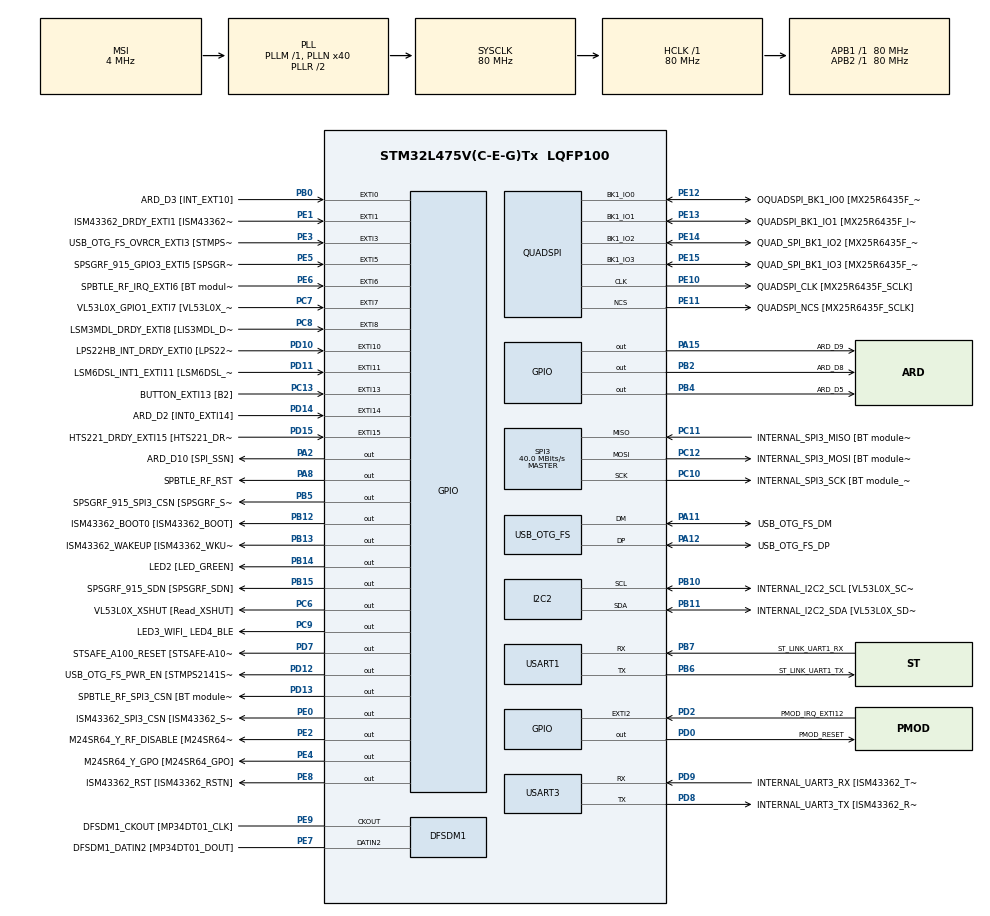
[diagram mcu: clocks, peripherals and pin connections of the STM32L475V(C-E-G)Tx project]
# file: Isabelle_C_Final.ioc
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Mcu.Family=STM32L4
Mcu.Name=STM32L475V(C-E-G)Tx
Mcu.Package=LQFP100
NVIC.EXTI15_10_IRQn=true\:0\:0\:false\:false\:true\:true\:true
NVIC.EXTI9_5_IRQn=true\:0\:0\:false\:false\:true\:true\:true
NVIC.PriorityGroup=NVIC_PRIORITYGROUP_4
NVIC.RTC_Alarm_IRQn=true\:0\:0\:false\:false\:true\:true\:true
NVIC.TIM2_IRQn=true\:0\:0\:false\:false\:true\:true\:true
NVIC.TIM3_IRQn=true\:0\:0\:false\:false\:true\:true\:true
NVIC.TIM6_DAC_IRQn=true\:0\:0\:false\:false\:true\:true\:true
PA0.GPIO_Label=ARD_D1 [UART4_TX]
PA0.Signal=UART4_TX
PA1.GPIO_Label=ARD_D0 [UART4_RX]
PA1.Signal=UART4_RX
PA10.GPIO_Label=USB_OTG_FS_ID
PA10.Signal=USB_OTG_FS_ID
PA11.GPIO_Label=USB_OTG_FS_DM
PA11.Mode=Device_Only
PA11.Signal=USB_OTG_FS_DM
PA12.GPIO_Label=USB_OTG_FS_DP
PA12.Mode=Device_Only
PA12.Signal=USB_OTG_FS_DP
PA13\ (JTMS-SWDIO).GPIO_Label=SYS_JTMS_SWDIO
PA13\ (JTMS-SWDIO).Mode=Serial_Wire
PA13\ (JTMS-SWDIO).Signal=SYS_JTMS-SWDIO
PA14\ (JTCK-SWCLK).GPIO_Label=SYS_JTCK_SWCLK
PA14\ (JTCK-SWCLK).Mode=Serial_Wire
PA14\ (JTCK-SWCLK).Signal=SYS_JTCK-SWCLK
PA15\ (JTDI).GPIO_Label=ARD_D9
PA15\ (JTDI).Signal=GPIO_Output
PA2.GPIO_Label=ARD_D10 [SPI_SSN]
PA2.Signal=GPIO_Output
PA3.GPIO_Label=ARD_D4
PA3.Signal=S_TIM2_CH4
PA4.GPIO_Label=ARD_D7
PA4.Signal=ADCx_IN9
PA5.GPIO_Label=ARD_D13 [SPI1_SCK]
PA5.Signal=SPI1_SCK
PA6.GPIO_Label=ARD_D12 [SPI1_MISO]
PA6.Signal=SPI1_MISO
PA7.GPIO_Label=ARD_D11 [SPI1_MOSI]
PA7.Signal=SPI1_MOSI
PA8.GPIO_Label=SPBTLE_RF_RST
PA8.Signal=GPIO_Output
PA9.GPIO_Label=USB_OTG_FS_VBUS [STMPS2141STR_OUT]
PA9.Signal=USB_OTG_FS_VBUS
PB0.GPIO_Label=ARD_D3 [INT_EXT10]
PB0.Signal=GPXTI0
PB1.GPIO_Label=ARD_D6 [ADC1_IN6]
PB1.Signal=ADCx_IN16
PB10.GPIO_Label=INTERNAL_I2C2_SCL [VL53L0X_SCL]
PB10.Mode=I2C
PB10.Signal=I2C2_SCL
PB11.GPIO_Label=INTERNAL_I2C2_SDA [VL53L0X_SDA]
PB11.Mode=I2C
PB11.Signal=I2C2_SDA
PB12.GPIO_Label=ISM43362_BOOT0 [ISM43362_BOOT]
PB12.Signal=GPIO_Output
PB13.GPIO_Label=ISM43362_WAKEUP [ISM43362_WKUP]
PB13.Signal=GPIO_Output
PB14.GPIO_Label=LED2 [LED_GREEN]
PB14.Signal=GPIO_Output
PB15.GPIO_Label=SPSGRF_915_SDN [SPSGRF_SDN]
PB15.Signal=GPIO_Output
PB2.GPIO_Label=ARD_D8
PB2.Signal=GPIO_Output
PB3\ (JTDO-TRACESWO).GPIO_Label=SYS_JTD0_SWO
PB3\ (JTDO-TRACESWO).Signal=SYS_JTDO-SWO
PB4\ (NJTRST).GPIO_Label=ARD_D5
PB4\ (NJTRST).Signal=GPIO_Output
PB5.GPIO_Label=SPSGRF_915_SPI3_CSN [SPSGRF_SPI_CS]
PB5.PinState=GPIO_PIN_SET
PB5.Signal=GPIO_Output
PB6.GPIO_Label=ST_LINK_UART1_TX
PB6.Mode=Asynchronous
PB6.Signal=USART1_TX
PB7.GPIO_Label=ST_LINK_UART1_RX
PB7.Mode=Asynchronous
PB7.Signal=USART1_RX
PB8.GPIO_Label=ARD_D15 [I2C1_SCL]
PB8.Signal=I2C1_SCL
PB9.GPIO_Label=ARD_D14 [I2C1_SDA]
PB9.Signal=I2C1_SDA
PC0.GPIO_Label=ARD_A5 [ADC]
PC0.Signal=ADCx_IN1
PC1.GPIO_Label=ARD_A4 [ADC]
PC1.Signal=ADCx_IN2
PC10.GPIO_Label=INTERNAL_SPI3_SCK [BT module_SPI_SCLK]
PC10.Mode=Full_Duplex_Master
PC10.Signal=SPI3_SCK
PC11.GPIO_Label=INTERNAL_SPI3_MISO [BT module_SPI_MISO]
PC11.Mode=Full_Duplex_Master
PC11.Signal=SPI3_MISO
PC12.GPIO_Label=INTERNAL_SPI3_MOSI [BT module_SPI_MOSI]
PC12.Mode=Full_Duplex_Master
PC12.Signal=SPI3_MOSI
PC13.GPIO_Label=BUTTON_EXTI13 [B2]
PC13.GPIO_ModeDefaultEXTI=GPIO_MODE_IT_FALLING
PC13.Signal=GPXTI13
PC14-OSC32_IN\ (PC14).Mode=LSE-External-Oscillator
PC14-OSC32_IN\ (PC14).Signal=RCC_OSC32_IN
PC15-OSC32_OUT\ (PC15).Mode=LSE-External-Oscillator
PC15-OSC32_OUT\ (PC15).Signal=RCC_OSC32_OUT
PC2.GPIO_Label=ARD_A3 [ADC]
PC2.Signal=ADCx_IN3
PC3.GPIO_Label=ARD_A2 [ADC]
PC3.Signal=ADCx_IN4
PC4.GPIO_Label=ARD_A1 [ADC]
PC4.Signal=ADCx_IN13
PC5.GPIO_Label=ARD_A0 [ADC]
PC5.Signal=ADCx_IN14
PC6.GPIO_Label=VL53L0X_XSHUT [Read_XSHUT]
PC6.Signal=GPIO_Output
PC7.GPIO_Label=VL53L0X_GPIO1_EXTI7 [VL53L0X_GPIO1]
PC7.Signal=GPXTI7
PC8.GPIO_Label=LSM3MDL_DRDY_EXTI8 [LIS3MDL_DRDY]
PC8.Signal=GPXTI8
PC9.GPIO_Label=LED3_WIFI_ LED4_BLE
PC9.Signal=GPIO_Output
PD0.GPIO_Label=PMOD_RESET
PD0.Signal=GPIO_Output
PD1.GPIO_Label=PMOD_SPI2_SCK
PD1.Signal=SPI2_SCK
PD10.GPIO_Label=LPS22HB_INT_DRDY_EXTI0 [LPS22HB_INT_DRDY] 
PD10.Signal=GPXTI10
PD11.GPIO_Label=LSM6DSL_INT1_EXTI11 [LSM6DSL_INT1]
PD11.Signal=GPXTI11
PD12.GPIO_Label=USB_OTG_FS_PWR_EN [STMPS2141STR_EN]
PD12.Signal=GPIO_Output
PD13.GPIO_Label=SPBTLE_RF_SPI3_CSN [BT module_SPI_CS]
PD13.PinState=GPIO_PIN_SET
PD13.Signal=GPIO_Output
PD14.GPIO_Label=ARD_D2 [INT0_EXTI14]
PD14.Signal=GPXTI14
PD15.GPIO_Label=HTS221_DRDY_EXTI15 [HTS221_DRDY]
PD15.Signal=GPXTI15
PD2.GPIO_Label=PMOD_IRQ_EXTI12
PD2.Signal=GPXTI2
PD3.GPIO_Label=PMOD_UART2_CTS
PD3.Signal=USART2_CTS
PD4.GPIO_Label=PMOD_UART2_RTS
PD4.Signal=USART2_RTS
PD5.GPIO_Label=PMOD_UART2_TX
PD5.Signal=USART2_TX
PD6.GPIO_Label=PMOD_UART2_RX
PD6.Signal=USART2_RX
PD7.GPIO_Label=STSAFE_A100_RESET [STSAFE-A100_RESET]
PD7.Signal=GPIO_Output
PD8.GPIO_Label=INTERNAL_UART3_TX [ISM43362_RX]
PD8.Mode=Asynchronous
PD8.Signal=USART3_TX
PD9.GPIO_Label=INTERNAL_UART3_RX [ISM43362_TX]
PD9.Mode=Asynchronous
PD9.Signal=USART3_RX
PE0.GPIO_Label=ISM43362_SPI3_CSN [ISM43362_SSN]
PE0.PinState=GPIO_PIN_SET
PE0.Signal=GPIO_Output
PE1.GPIO_Label=ISM43362_DRDY_EXTI1 [ISM43362_DATARDY]
PE1.Signal=GPXTI1
PE10.GPIO_Label=QUADSPI_CLK [MX25R6435F_SCLK]
PE10.Mode=Single Bank
PE10.Signal=QUADSPI_CLK
PE11.GPIO_Label=QUADSPI_NCS [MX25R6435F_SCLK]
PE11.Mode=Single Bank
PE11.Signal=QUADSPI_NCS
PE12.GPIO_Label=OQUADSPI_BK1_IO0 [MX25R6435F_IO0]
PE12.Mode=Single Bank
PE12.Signal=QUADSPI_BK1_IO0
PE13.GPIO_Label=QUADSPI_BK1_IO1 [MX25R6435F_IO1]
PE13.Mode=Single Bank
PE13.Signal=QUADSPI_BK1_IO1
PE14.GPIO_Label=QUAD_SPI_BK1_IO2 [MX25R6435F_IO2]
PE14.Mode=Single Bank
PE14.Signal=QUADSPI_BK1_IO2
PE15.GPIO_Label=QUAD_SPI_BK1_IO3 [MX25R6435F_IO3]
PE15.Mode=Single Bank
PE15.Signal=QUADSPI_BK1_IO3
PE2.GPIO_Label=M24SR64_Y_RF_DISABLE [M24SR64_RFDIS]
PE2.Signal=GPIO_Output
PE3.GPIO_Label=USB_OTG_FS_OVRCR_EXTI3 [STMPS2141STR_FAULT]
PE3.Signal=GPXTI3
PE4.GPIO_Label=M24SR64_Y_GPO [M24SR64_GPO]
PE4.Signal=GPIO_Output
PE5.GPIO_Label=SPSGRF_915_GPIO3_EXTI5 [SPSGRF_GPIO_3]
PE5.Signal=GPXTI5
PE6.GPIO_Label=SPBTLE_RF_IRQ_EXTI6 [BT module_SPI_IRQ]
PE6.Signal=GPXTI6
PE7.GPIO_Label=DFSDM1_DATIN2 [MP34DT01_DOUT]
PE7.Signal=S_DATAIN2DFSDM1
PE8.GPIO_Label=ISM43362_RST [ISM43362_RSTN]
PE8.Signal=GPIO_Output
PE9.GPIO_Label=DFSDM1_CKOUT [MP34DT01_CLK]
PE9.Signal=S_CKOUTDFSDM1
ProjectManager.HeapSize=0x200
ProjectManager.StackSize=0x400
ProjectManager.TargetToolchain=STM32CubeIDE
RCC.ADCFreq_Value=48000000
RCC.AHBFreq_Value=80000000
RCC.APB1Freq_Value=80000000
RCC.APB1TimFreq_Value=80000000
RCC.APB2Freq_Value=80000000
RCC.APB2TimFreq_Value=80000000
RCC.CortexFreq_Value=80000000
RCC.HCLKFreq_Value=80000000
RCC.HSE_VALUE=8000000
RCC.HSI_VALUE=16000000
RCC.MSI_VALUE=4000000
RCC.PLLN=40
RCC.PLLSAI1N=24
RCC.SYSCLKFreq_VALUE=80000000
RCC.SYSCLKSource=RCC_SYSCLKSOURCE_PLLCLK
RCC.USBFreq_Value=48000000
RCC.VCOOutputFreq_Value=160000000
RTC.Alarm-Alarm\ A=RTC_ALARM_A
SH.ADCx_IN1.0=ADC1_IN1
SH.ADCx_IN13.0=ADC1_IN13
SH.ADCx_IN14.0=ADC1_IN14
SH.ADCx_IN16.0=ADC1_IN16
SH.ADCx_IN2.0=ADC1_IN2
SH.ADCx_IN3.0=ADC1_IN3
SH.ADCx_IN4.0=ADC1_IN4
SH.ADCx_IN9.0=ADC1_IN9
SH.S_CKOUTDFSDM1.0=DFSDM1_CKOUT,CKOUT
SH.S_CKOUTDFSDM1.1=DFSDM1_CKOUT,PDM_SPI_Input_from_ch12_and_Internal_Clock
SH.S_DATAIN2DFSDM1.0=DFSDM1_DATIN2,PDM_SPI_Input_from_ch12_and_Internal_Clock
SH.S_TIM2_CH4.0=TIM2_CH4
SPI3.CalculateBaudRate=40.0 MBits/s
SPI3.Direction=SPI_DIRECTION_2LINES
SPI3.Mode=SPI_MODE_MASTER
SPI3.VirtualType=VM_MASTER
USART1.VirtualMode-Asynchronous=VM_ASYNC
USART3.VirtualMode-Asynchronous=VM_ASYNC
USB_OTG_FS.VirtualMode=Device_Only
VP_IWDG_VS_IWDG.Mode=IWDG_Activate
VP_RTC_VS_RTC_Activate.Mode=RTC_Enabled
VP_RTC_VS_RTC_Alarm_A_Intern.Mode=Alarm A
VP_RTC_VS_RTC_Calendar.Mode=RTC_Calendar
VP_TIM2_VS_ClockSourceINT.Mode=Internal
VP_TIM3_VS_ClockSourceINT.Mode=Internal
VP_TIM6_VS_ClockSourceINT.Mode=Enable_Timer
VP_WWDG_VS_WWDG.Mode=WWDG_Activate
board=B-L475E-IOT01A1

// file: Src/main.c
/* USER CODE BEGIN Header */
/**
  ******************************************************************************
  * @file           : main.c
  * @brief          : Main program body
  ******************************************************************************
  * @attention
  *
  * <h2><center>&copy; Copyright (c) 2020 STMicroelectronics.
  * All rights reserved.</center></h2>
  *
  * This software component is licensed by ST under BSD 3-Clause license,
  * the "License"; You may not use this file except in compliance with the
  * License. You may obtain a copy of the License at:
  *                        opensource.org/licenses/BSD-3-Clause
  *
  ******************************************************************************
  */
/* USER CODE END Header */

#include "main.h"

/* USER CODE BEGIN Includes */
#include <stdio.h>
#include <string.h>
#include <stdlib.h>
#include <ctype.h>
/* USER CODE END Includes */

/* USER CODE BEGIN PD */
#define GRN_LED_Pin GPIO_PIN_14
#define GRN_LED_GPIO_Port GPIOB
#define BLUE_LED_Pin GPIO_PIN_9
#define BLUE_LED_GPIO_Port GPIOC
//Use this GPIO with output at CN1pin1 to trace events related to RTC & timer functions
#define TIMER_TRACE_Pin ARD_D8_Pin
#define TIMER_TRACE_Port ARD_D8_GPIO_Port

/* USER CODE END PD */

DFSDM_Channel_HandleTypeDef hdfsdm1_channel1;

I2C_HandleTypeDef hi2c2;

IWDG_HandleTypeDef hiwdg;

QSPI_HandleTypeDef hqspi;

RTC_HandleTypeDef hrtc;

SPI_HandleTypeDef hspi3;

TIM_HandleTypeDef htim2;
TIM_HandleTypeDef htim3;
TIM_HandleTypeDef htim6;

UART_HandleTypeDef huart1;
UART_HandleTypeDef huart3;

PCD_HandleTypeDef hpcd_USB_OTG_FS;

WWDG_HandleTypeDef hwwdg;

/* USER CODE BEGIN PV */

int mySwInterruptFlag = 0;
int mySysTickEventFlag = 0;
int myTim3EventFlag = 0;
int myRtcAlarmFlag = 0;

/* USER CODE END PV */

void SystemClock_Config(void);
static void MX_GPIO_Init(void);
static void MX_DFSDM1_Init(void);
static void MX_I2C2_Init(void);
static void MX_IWDG_Init(void);
static void MX_QUADSPI_Init(void);
static void MX_RTC_Init(void);
static void MX_SPI3_Init(void);
static void MX_TIM2_Init(void);
static void MX_TIM3_Init(void);
static void MX_TIM6_Init(void);
static void MX_USART1_UART_Init(void);
static void MX_USART3_UART_Init(void);
static void MX_USB_OTG_FS_PCD_Init(void);
static void MX_WWDG_Init(void);

/* USER CODE BEGIN 0 */

// generic USART handler
void USART1_IRQHandler(void)
{
  HAL_UART_IRQHandler(&huart1);
}

// logMsg - prints messages to the UART
void logMsg(UART_HandleTypeDef *huart, char _out[])
{
    //Use STM32L4xx_HAL_Driver for UART TX
    uint32_t numTxChar = strlen(_out);
    HAL_UART_Transmit_IT(huart, (uint8_t *)_out, numTxChar);
    //need to stall and wait for all characters to be transmitted
    while(!__HAL_UART_GET_FLAG(huart, UART_FLAG_TC));
}

// logGetMsg method
uint8_t logGetMsg(UART_HandleTypeDef *huart)
{
    uint8_t rxChar;
    HAL_UART_Receive_IT(&huart1, &rxChar, sizeof(uint8_t));
    return (rxChar);
}

// myDelay1 method - IWDG safe
void myDelay1(uint32_t val)
{
    //Confirmed all bits in TIM2 are initialized to zero.
    //Only bits required as set are handled in the code below

    //TIM2 (CR) Control Register Setup
    //set CR[4] DIR = 1 for downcounter
    TIM2->CR1 |= 1<<4;
    //set CR[0] CEN = 1 for Counter enable
    TIM2->CR1 |= 1<<0;
    TIM2->PSC = 1;      //PSC_CLK = 80MHz/(PSC+1) = 40MHz

    TIM2->ARR = 40000;
    TIM2->CCR1 = 1;
    while (val != 0)
    {
        //wait for SR[0] UIF = 1 Update Interrupt Pending
        while(!(TIM2-> SR & 1)) {}

        //placing the IWDG refresh here will force a WDT event if the timer is not configured correctly
        //pet the IWDG timer
        HAL_IWDG_Refresh(&hiwdg);

        val --;
        //clear SR[0] UIF = 0 No update occured
        TIM2->SR &= ~1;
    }
}

// myDelay2 method - IWDG safe
void myDelay2(uint32_t val)
{
    //SysTick_LOAD = (SysTick_Interrupt_Period * SysTick_Counter_Clock_Frequency) - 1
    SysTick->LOAD = (1E-3 * SystemCoreClock) - 1;

    while (val != 0)
    {
        //Added mySysTick_IRQHandler() in SysTick_Handler()
        //mySysTick_IRQHandler() sets swSysTickEventFlag each time SysTick_Handler() is called

        //wait until swSysTickEventFlag changes
        while(!mySysTickEventFlag) {}

        //reset swSysTickEventFlag
        mySysTickEventFlag = 0;

        //pet the IWDG timer
        HAL_IWDG_Refresh(&hiwdg);

        val --;
    }
}

void FMC_SW_IRQHandler(void)
{
    mySwInterruptFlag = 1;
}

// called by SysTick_Handler()
void mySysTick_IRQHandler(void)
{
    mySysTickEventFlag = 1;
}

void HAL_TIM_PeriodElapsedCallback(TIM_HandleTypeDef *htim)
{
    if(htim == &htim3)
    {
        myTim3EventFlag = 1;
    }

}

void HAL_RTC_AlarmAEventCallback(RTC_HandleTypeDef *hrtc)
{
    myRtcAlarmFlag = 1;
}

/* USER CODE END 0 */

int main(void)
{

  /* MCU Configuration--------------------------------------------------------*/

  /* Reset of all peripherals, Initializes the Flash interface and the Systick. */
  HAL_Init();

  /* USER CODE BEGIN Init */

  //Enable IRQ for UART1
  HAL_NVIC_EnableIRQ(USART1_IRQn);

  /* USER CODE END Init */

  /* Configure the system clock */
  SystemClock_Config();

  /* Initialize all configured peripherals */
  MX_GPIO_Init();
  MX_DFSDM1_Init();
  MX_I2C2_Init();
  MX_IWDG_Init();
  MX_QUADSPI_Init();
  MX_RTC_Init();
  MX_SPI3_Init();
  MX_TIM2_Init();
  MX_TIM3_Init();
  MX_TIM6_Init();
  MX_USART1_UART_Init();
  MX_USART3_UART_Init();
  MX_USB_OTG_FS_PCD_Init();
//  MX_WWDG_Init();
  /* USER CODE BEGIN 2 */
  HAL_NVIC_SetPriority(FMC_IRQn, 15, 0);
  HAL_NVIC_EnableIRQ(FMC_IRQn);

  //create a null terminated string of a single character
  char tempChar[1];
  //create a null terminated string
  char tempStr[80];
  //timer 3 1 second counter
  int tim3Cntr=0;
  //print start up banner to the terminal
  logMsg(&huart1, "\n\n\n\r\n");
  logMsg(&huart1, "Welcome to <Embedded Controller Programming for Real-Time Systems> \r\n");
  logMsg(&huart1, "~~~~~~~~~~~~~~~~~~~~~~~~~~~~~~~~~~~~~~~~~~~~~~~~~~~~~~~~~~~~~~~~~~ \r\n");
  logMsg(&huart1, "~             Assignment: Final Project                          ~ \r\n");
  logMsg(&huart1, "~          Course Number: ECE-40097                              ~ \r\n");
  logMsg(&huart1, "~             Section ID: 145032                                 ~ \r\n");
  logMsg(&huart1, "~           Student Name: Chris Isabelle                         ~ \r\n");
  logMsg(&huart1, "~                    SID: U01136665                              ~ \r\n");
  logMsg(&huart1, "~~~~~~~~~~~~~~~~~~~~~~~~~~~~~~~~~~~~~~~~~~~~~~~~~~~~~~~~~~~~~~~~~~ \r\n");

  /* USER CODE END 2 */

  /* Infinite loop */
  while (1)
  {

    /* USER CODE BEGIN 3 */

      //reprint the menu each time a character is processed
      logMsg(&huart1, "\n\r\n");
      logMsg(&huart1, "\r\n                   Main Menu \r\n");
      logMsg(&huart1, "~~~~~~~~~~~~~~~~~~~~~~~~~~~~~~~~~~~~~~~~~~~~~~~ \r\n");
      logMsg(&huart1, "Enter g - Toggle the Green LED after 1 one second delay\r\n");
      logMsg(&huart1, "Enter b - Toggle the Blue LED after 1 one second delay\r\n");
      logMsg(&huart1, "Enter s - Generate a SW interrupt \r\n");
      logMsg(&huart1, "Enter t - Start timer3  \r\n");
      logMsg(&huart1, "Enter w - Enable a 1 second delay to trigger the WDT \r\n");

      //stall the outerloop until a char is input to the terminal - IWDG safe
      //process tim3, rtc & swInterrupt flags
      while(__HAL_UART_GET_FLAG(&huart1, UART_FLAG_RXNE)==0)
      {
          //pet the IWDG timer
          HAL_IWDG_Refresh(&hiwdg);

          //test to see if the TIM3 interrupt flag has been triggered
          if(myTim3EventFlag)
          {
              //clear the flag
              myTim3EventFlag=0;

              //throw away for first event
              //enabling the interrupt causes an event that is not a timed event
              //see test log for timing analysis.
              if(tim3Cntr==0)
              {
                  logMsg(&huart1, "\r\nTotal timer3 enabled\r\n");
                  tim3Cntr++;
                  continue;
              }

              sprintf(tempStr, "Total timer3 events counted = %d\r\n", tim3Cntr);
              //increment counter
              tim3Cntr++;
              logMsg(&huart1, tempStr);
              if(tim3Cntr>10)
              {
                  //Stop timer 3
                  HAL_TIM_Base_Stop_IT(&htim3);
                  //reset tim3Cntr
                  tim3Cntr = 0;
                  logMsg(&huart1, "\r\nTimer 3 Test Complete\r\n");
              }
          }

          //test to see if the SW interrupt flag has been triggered
          if(mySwInterruptFlag)
          {
              //print message
              logMsg(&huart1, "\r\n>>> SW Interrupt Detected <<<\r\n\r\n");
              //clear the flag
              mySwInterruptFlag=0;
          }

          //test to see if the RTC interrupt flag has been triggered
          if(myRtcAlarmFlag)
          {
              //print message
              logMsg(&huart1, "\r\n>>> RTC alarm A detected <<<\r\n\r\n");
              //clear the flag
              myRtcAlarmFlag=0;
          }
      }

      //get the character that was input to the terminal
      tempChar[0] = logGetMsg(&huart1);
      logMsg(&huart1, "\n\r\nreceived character = ");
      logMsg(&huart1, tempChar);
      logMsg(&huart1, " \r\n");

      //process character
      switch(tempChar[0])
      {
            case('g'):  //Toggle Green LED
                        myDelay1(1000);
                        HAL_GPIO_TogglePin(GRN_LED_GPIO_Port, GRN_LED_Pin);
                        logMsg(&huart1, "Toggle Green LED \r\n");
                        break;
            case('b'):  //Toggle blue LED
                        myDelay2(1000);
                        HAL_GPIO_TogglePin(BLUE_LED_GPIO_Port, BLUE_LED_Pin);
                        logMsg(&huart1, "Toggle Blue LED \r\n");
                        break;
            case('s'):  //Generate a SW interrupt
                        NVIC->STIR = FMC_IRQn;
                        break;
            case('t'):  //Start timer 3
                        //Prescaler drop the 80MHz clk to 40KHz
                        //80MHz/(1999+1) = 40kHz
                        htim3.Init.Prescaler = 1999;
                        htim3.Init.CounterMode = TIM_COUNTERMODE_DOWN;
                        //use the 40HKz clk to countdown 40K cycles for 1 second underflow
                        htim3.Init.Period = 40000;
                        HAL_TIM_Base_Init(&htim3);
                        logMsg(&huart1, "\r\nStarting Timer 3 Test\r\n");
                        HAL_TIM_Base_Start_IT(&htim3);
                        break;
            case('w'):  //Enable 1 second delay to trigger the IWDG
                        logMsg(&huart1, "\r\nStarting IWDG Test\r\n");
                        HAL_Delay(1000);
                        break;
            default:    logMsg(&huart1, "\n\r\nunknown character received \r\n");
      }
  }
  /* USER CODE END 3 */
}

void SystemClock_Config(void)
{
  RCC_OscInitTypeDef RCC_OscInitStruct = {0};
  RCC_ClkInitTypeDef RCC_ClkInitStruct = {0};
  RCC_PeriphCLKInitTypeDef PeriphClkInit = {0};

  /** Configure LSE Drive Capability
  */
  HAL_PWR_EnableBkUpAccess();
  __HAL_RCC_LSEDRIVE_CONFIG(RCC_LSEDRIVE_LOW);
  /** Initializes the CPU, AHB and APB busses clocks
  */
  RCC_OscInitStruct.OscillatorType = RCC_OSCILLATORTYPE_LSI|RCC_OSCILLATORTYPE_LSE
                              |RCC_OSCILLATORTYPE_MSI;
  RCC_OscInitStruct.LSEState = RCC_LSE_ON;
  RCC_OscInitStruct.LSIState = RCC_LSI_ON;
  RCC_OscInitStruct.MSIState = RCC_MSI_ON;
  RCC_OscInitStruct.MSICalibrationValue = 0;
  RCC_OscInitStruct.MSIClockRange = RCC_MSIRANGE_6;
  RCC_OscInitStruct.PLL.PLLState = RCC_PLL_ON;
  RCC_OscInitStruct.PLL.PLLSource = RCC_PLLSOURCE_MSI;
  RCC_OscInitStruct.PLL.PLLM = 1;
  RCC_OscInitStruct.PLL.PLLN = 40;
  RCC_OscInitStruct.PLL.PLLP = RCC_PLLP_DIV7;
  RCC_OscInitStruct.PLL.PLLQ = RCC_PLLQ_DIV2;
  RCC_OscInitStruct.PLL.PLLR = RCC_PLLR_DIV2;
  if (HAL_RCC_OscConfig(&RCC_OscInitStruct) != HAL_OK)
  {
    Error_Handler();
  }
  /** Initializes the CPU, AHB and APB busses clocks
  */
  RCC_ClkInitStruct.ClockType = RCC_CLOCKTYPE_HCLK|RCC_CLOCKTYPE_SYSCLK
                              |RCC_CLOCKTYPE_PCLK1|RCC_CLOCKTYPE_PCLK2;
  RCC_ClkInitStruct.SYSCLKSource = RCC_SYSCLKSOURCE_PLLCLK;
  RCC_ClkInitStruct.AHBCLKDivider = RCC_SYSCLK_DIV1;
  RCC_ClkInitStruct.APB1CLKDivider = RCC_HCLK_DIV1;
  RCC_ClkInitStruct.APB2CLKDivider = RCC_HCLK_DIV1;

  if (HAL_RCC_ClockConfig(&RCC_ClkInitStruct, FLASH_LATENCY_4) != HAL_OK)
  {
    Error_Handler();
  }
  PeriphClkInit.PeriphClockSelection = RCC_PERIPHCLK_RTC|RCC_PERIPHCLK_USART1
                              |RCC_PERIPHCLK_USART3|RCC_PERIPHCLK_I2C2
                              |RCC_PERIPHCLK_DFSDM1|RCC_PERIPHCLK_USB;
  PeriphClkInit.Usart1ClockSelection = RCC_USART1CLKSOURCE_PCLK2;
  PeriphClkInit.Usart3ClockSelection = RCC_USART3CLKSOURCE_PCLK1;
  PeriphClkInit.I2c2ClockSelection = RCC_I2C2CLKSOURCE_PCLK1;
  PeriphClkInit.Dfsdm1ClockSelection = RCC_DFSDM1CLKSOURCE_PCLK;
  PeriphClkInit.RTCClockSelection = RCC_RTCCLKSOURCE_LSI;
  PeriphClkInit.UsbClockSelection = RCC_USBCLKSOURCE_PLLSAI1;
  PeriphClkInit.PLLSAI1.PLLSAI1Source = RCC_PLLSOURCE_MSI;
  PeriphClkInit.PLLSAI1.PLLSAI1M = 1;
  PeriphClkInit.PLLSAI1.PLLSAI1N = 24;
  PeriphClkInit.PLLSAI1.PLLSAI1P = RCC_PLLP_DIV7;
  PeriphClkInit.PLLSAI1.PLLSAI1Q = RCC_PLLQ_DIV2;
  PeriphClkInit.PLLSAI1.PLLSAI1R = RCC_PLLR_DIV2;
  PeriphClkInit.PLLSAI1.PLLSAI1ClockOut = RCC_PLLSAI1_48M2CLK;
  if (HAL_RCCEx_PeriphCLKConfig(&PeriphClkInit) != HAL_OK)
  {
    Error_Handler();
  }
  /** Configure the main internal regulator output voltage
  */
  if (HAL_PWREx_ControlVoltageScaling(PWR_REGULATOR_VOLTAGE_SCALE1) != HAL_OK)
  {
    Error_Handler();
  }
  /** Enable MSI Auto calibration
  */
  HAL_RCCEx_EnableMSIPLLMode();
}

static void MX_DFSDM1_Init(void)
{

  hdfsdm1_channel1.Instance = DFSDM1_Channel1;
  hdfsdm1_channel1.Init.OutputClock.Activation = ENABLE;
  hdfsdm1_channel1.Init.OutputClock.Selection = DFSDM_CHANNEL_OUTPUT_CLOCK_SYSTEM;
  hdfsdm1_channel1.Init.OutputClock.Divider = 2;
  hdfsdm1_channel1.Init.Input.Multiplexer = DFSDM_CHANNEL_EXTERNAL_INPUTS;
  hdfsdm1_channel1.Init.Input.DataPacking = DFSDM_CHANNEL_STANDARD_MODE;
  hdfsdm1_channel1.Init.Input.Pins = DFSDM_CHANNEL_FOLLOWING_CHANNEL_PINS;
  hdfsdm1_channel1.Init.SerialInterface.Type = DFSDM_CHANNEL_SPI_RISING;
  hdfsdm1_channel1.Init.SerialInterface.SpiClock = DFSDM_CHANNEL_SPI_CLOCK_INTERNAL;
  hdfsdm1_channel1.Init.Awd.FilterOrder = DFSDM_CHANNEL_FASTSINC_ORDER;
  hdfsdm1_channel1.Init.Awd.Oversampling = 1;
  hdfsdm1_channel1.Init.Offset = 0;
  hdfsdm1_channel1.Init.RightBitShift = 0x00;
  if (HAL_DFSDM_ChannelInit(&hdfsdm1_channel1) != HAL_OK)
  {
    Error_Handler();
  }

}

static void MX_I2C2_Init(void)
{

  hi2c2.Instance = I2C2;
  hi2c2.Init.Timing = 0x10909CEC;
  hi2c2.Init.OwnAddress1 = 0;
  hi2c2.Init.AddressingMode = I2C_ADDRESSINGMODE_7BIT;
  hi2c2.Init.DualAddressMode = I2C_DUALADDRESS_DISABLE;
  hi2c2.Init.OwnAddress2 = 0;
  hi2c2.Init.OwnAddress2Masks = I2C_OA2_NOMASK;
  hi2c2.Init.GeneralCallMode = I2C_GENERALCALL_DISABLE;
  hi2c2.Init.NoStretchMode = I2C_NOSTRETCH_DISABLE;
  if (HAL_I2C_Init(&hi2c2) != HAL_OK)
  {
    Error_Handler();
  }
  /** Configure Analogue filter
  */
  if (HAL_I2CEx_ConfigAnalogFilter(&hi2c2, I2C_ANALOGFILTER_ENABLE) != HAL_OK)
  {
    Error_Handler();
  }
  /** Configure Digital filter
  */
  if (HAL_I2CEx_ConfigDigitalFilter(&hi2c2, 0) != HAL_OK)
  {
    Error_Handler();
  }

}

static void MX_IWDG_Init(void)
{

  hiwdg.Instance = IWDG;
  hiwdg.Init.Prescaler = IWDG_PRESCALER_4;
  hiwdg.Init.Window = 4095;
  hiwdg.Init.Reload = 4095;
  if (HAL_IWDG_Init(&hiwdg) != HAL_OK)
  {
    Error_Handler();
  }

}

static void MX_QUADSPI_Init(void)
{

  /* QUADSPI parameter configuration*/
  hqspi.Instance = QUADSPI;
  hqspi.Init.ClockPrescaler = 255;
  hqspi.Init.FifoThreshold = 1;
  hqspi.Init.SampleShifting = QSPI_SAMPLE_SHIFTING_NONE;
  hqspi.Init.FlashSize = 1;
  hqspi.Init.ChipSelectHighTime = QSPI_CS_HIGH_TIME_1_CYCLE;
  hqspi.Init.ClockMode = QSPI_CLOCK_MODE_0;
  if (HAL_QSPI_Init(&hqspi) != HAL_OK)
  {
    Error_Handler();
  }

}

static void MX_RTC_Init(void)
{

  RTC_TimeTypeDef sTime = {0};
  RTC_DateTypeDef sDate = {0};
  RTC_AlarmTypeDef sAlarm = {0};

  /** Initialize RTC Only
  */
  hrtc.Instance = RTC;
  hrtc.Init.HourFormat = RTC_HOURFORMAT_24;
  hrtc.Init.AsynchPrediv = 127;
  hrtc.Init.SynchPrediv = 255;
  hrtc.Init.OutPut = RTC_OUTPUT_DISABLE;
  hrtc.Init.OutPutRemap = RTC_OUTPUT_REMAP_NONE;
  hrtc.Init.OutPutPolarity = RTC_OUTPUT_POLARITY_HIGH;
  hrtc.Init.OutPutType = RTC_OUTPUT_TYPE_OPENDRAIN;
  if (HAL_RTC_Init(&hrtc) != HAL_OK)
  {
    Error_Handler();
  }

  /** Initialize RTC and set the Time and Date
  */
  sTime.Hours = 0x0;
  sTime.Minutes = 0x0;
  sTime.Seconds = 0x0;
  sTime.DayLightSaving = RTC_DAYLIGHTSAVING_NONE;
  sTime.StoreOperation = RTC_STOREOPERATION_RESET;
  if (HAL_RTC_SetTime(&hrtc, &sTime, RTC_FORMAT_BCD) != HAL_OK)
  {
    Error_Handler();
  }
  sDate.WeekDay = RTC_WEEKDAY_MONDAY;
  sDate.Month = RTC_MONTH_JANUARY;
  sDate.Date = 0x1;
  sDate.Year = 0x0;

  if (HAL_RTC_SetDate(&hrtc, &sDate, RTC_FORMAT_BCD) != HAL_OK)
  {
    Error_Handler();
  }
  /** Enable the Alarm A
  */
  sAlarm.AlarmTime.Hours = 0x0;
  sAlarm.AlarmTime.Minutes = 0x1;
  sAlarm.AlarmTime.Seconds = 0x0;
  sAlarm.AlarmTime.SubSeconds = 0x0;
  sAlarm.AlarmTime.DayLightSaving = RTC_DAYLIGHTSAVING_NONE;
  sAlarm.AlarmTime.StoreOperation = RTC_STOREOPERATION_RESET;
  sAlarm.AlarmMask = RTC_ALARMMASK_NONE;
  sAlarm.AlarmSubSecondMask = RTC_ALARMSUBSECONDMASK_ALL;
  sAlarm.AlarmDateWeekDaySel = RTC_ALARMDATEWEEKDAYSEL_DATE;
  sAlarm.AlarmDateWeekDay = 0x1;
  sAlarm.Alarm = RTC_ALARM_A;
  if (HAL_RTC_SetAlarm_IT(&hrtc, &sAlarm, RTC_FORMAT_BCD) != HAL_OK)
  {
    Error_Handler();
  }

}

static void MX_SPI3_Init(void)
{

  /* SPI3 parameter configuration*/
  hspi3.Instance = SPI3;
  hspi3.Init.Mode = SPI_MODE_MASTER;
  hspi3.Init.Direction = SPI_DIRECTION_2LINES;
  hspi3.Init.DataSize = SPI_DATASIZE_4BIT;
  hspi3.Init.CLKPolarity = SPI_POLARITY_LOW;
  hspi3.Init.CLKPhase = SPI_PHASE_1EDGE;
  hspi3.Init.NSS = SPI_NSS_SOFT;
  hspi3.Init.BaudRatePrescaler = SPI_BAUDRATEPRESCALER_2;
  hspi3.Init.FirstBit = SPI_FIRSTBIT_MSB;
  hspi3.Init.TIMode = SPI_TIMODE_DISABLE;
  hspi3.Init.CRCCalculation = SPI_CRCCALCULATION_DISABLE;
  hspi3.Init.CRCPolynomial = 7;
  hspi3.Init.CRCLength = SPI_CRC_LENGTH_DATASIZE;
  hspi3.Init.NSSPMode = SPI_NSS_PULSE_ENABLE;
  if (HAL_SPI_Init(&hspi3) != HAL_OK)
  {
    Error_Handler();
  }

}

static void MX_TIM2_Init(void)
{

  TIM_ClockConfigTypeDef sClockSourceConfig = {0};
  TIM_MasterConfigTypeDef sMasterConfig = {0};

  htim2.Instance = TIM2;
  htim2.Init.Prescaler = 0;
  htim2.Init.CounterMode = TIM_COUNTERMODE_UP;
  htim2.Init.Period = 0;
  htim2.Init.ClockDivision = TIM_CLOCKDIVISION_DIV1;
  htim2.Init.AutoReloadPreload = TIM_AUTORELOAD_PRELOAD_DISABLE;
  if (HAL_TIM_Base_Init(&htim2) != HAL_OK)
  {
    Error_Handler();
  }
  sClockSourceConfig.ClockSource = TIM_CLOCKSOURCE_INTERNAL;
  if (HAL_TIM_ConfigClockSource(&htim2, &sClockSourceConfig) != HAL_OK)
  {
    Error_Handler();
  }
  sMasterConfig.MasterOutputTrigger = TIM_TRGO_RESET;
  sMasterConfig.MasterSlaveMode = TIM_MASTERSLAVEMODE_DISABLE;
  if (HAL_TIMEx_MasterConfigSynchronization(&htim2, &sMasterConfig) != HAL_OK)
  {
    Error_Handler();
  }

}

static void MX_TIM3_Init(void)
{

  TIM_ClockConfigTypeDef sClockSourceConfig = {0};
  TIM_MasterConfigTypeDef sMasterConfig = {0};

  htim3.Instance = TIM3;
  htim3.Init.Prescaler = 0;
  htim3.Init.CounterMode = TIM_COUNTERMODE_UP;
  htim3.Init.Period = 0;
  htim3.Init.ClockDivision = TIM_CLOCKDIVISION_DIV1;
  htim3.Init.AutoReloadPreload = TIM_AUTORELOAD_PRELOAD_DISABLE;
  if (HAL_TIM_Base_Init(&htim3) != HAL_OK)
  {
    Error_Handler();
  }
  sClockSourceConfig.ClockSource = TIM_CLOCKSOURCE_INTERNAL;    //Selected clock is LSI @ 32KHz
  if (HAL_TIM_ConfigClockSource(&htim3, &sClockSourceConfig) != HAL_OK)
  {
    Error_Handler();
  }
  sMasterConfig.MasterOutputTrigger = TIM_TRGO_RESET;
  sMasterConfig.MasterSlaveMode = TIM_MASTERSLAVEMODE_DISABLE;
  if (HAL_TIMEx_MasterConfigSynchronization(&htim3, &sMasterConfig) != HAL_OK)
  {
    Error_Handler();
  }

}

static void MX_TIM6_Init(void)
{

  TIM_MasterConfigTypeDef sMasterConfig = {0};

  htim6.Instance = TIM6;
  htim6.Init.Prescaler = 0;
  htim6.Init.CounterMode = TIM_COUNTERMODE_UP;
  htim6.Init.Period = 0;
  htim6.Init.AutoReloadPreload = TIM_AUTORELOAD_PRELOAD_DISABLE;
  if (HAL_TIM_Base_Init(&htim6) != HAL_OK)
  {
    Error_Handler();
  }
  sMasterConfig.MasterOutputTrigger = TIM_TRGO_RESET;
  sMasterConfig.MasterSlaveMode = TIM_MASTERSLAVEMODE_DISABLE;
  if (HAL_TIMEx_MasterConfigSynchronization(&htim6, &sMasterConfig) != HAL_OK)
  {
    Error_Handler();
  }

}

static void MX_USART1_UART_Init(void)
{

  huart1.Instance = USART1;
  huart1.Init.BaudRate = 115200;
  huart1.Init.WordLength = UART_WORDLENGTH_8B;
  huart1.Init.StopBits = UART_STOPBITS_1;
  huart1.Init.Parity = UART_PARITY_NONE;
  huart1.Init.Mode = UART_MODE_TX_RX;
  huart1.Init.HwFlowCtl = UART_HWCONTROL_NONE;
  huart1.Init.OverSampling = UART_OVERSAMPLING_16;
  huart1.Init.OneBitSampling = UART_ONE_BIT_SAMPLE_DISABLE;
  huart1.AdvancedInit.AdvFeatureInit = UART_ADVFEATURE_NO_INIT;
  if (HAL_UART_Init(&huart1) != HAL_OK)
  {
    Error_Handler();
  }

}

static void MX_USART3_UART_Init(void)
{

  huart3.Instance = USART3;
  huart3.Init.BaudRate = 115200;
  huart3.Init.WordLength = UART_WORDLENGTH_8B;
  huart3.Init.StopBits = UART_STOPBITS_1;
  huart3.Init.Parity = UART_PARITY_NONE;
  huart3.Init.Mode = UART_MODE_TX_RX;
  huart3.Init.HwFlowCtl = UART_HWCONTROL_NONE;
  huart3.Init.OverSampling = UART_OVERSAMPLING_16;
  huart3.Init.OneBitSampling = UART_ONE_BIT_SAMPLE_DISABLE;
  huart3.AdvancedInit.AdvFeatureInit = UART_ADVFEATURE_NO_INIT;
  if (HAL_UART_Init(&huart3) != HAL_OK)
  {
    Error_Handler();
  }

}

static void MX_USB_OTG_FS_PCD_Init(void)
{

  hpcd_USB_OTG_FS.Instance = USB_OTG_FS;
  hpcd_USB_OTG_FS.Init.dev_endpoints = 6;
  hpcd_USB_OTG_FS.Init.speed = PCD_SPEED_FULL;
  hpcd_USB_OTG_FS.Init.phy_itface = PCD_PHY_EMBEDDED;
  hpcd_USB_OTG_FS.Init.Sof_enable = DISABLE;
  hpcd_USB_OTG_FS.Init.low_power_enable = DISABLE;
  hpcd_USB_OTG_FS.Init.lpm_enable = DISABLE;
  hpcd_USB_OTG_FS.Init.battery_charging_enable = DISABLE;
  hpcd_USB_OTG_FS.Init.use_dedicated_ep1 = DISABLE;
  hpcd_USB_OTG_FS.Init.vbus_sensing_enable = DISABLE;
  if (HAL_PCD_Init(&hpcd_USB_OTG_FS) != HAL_OK)
  {
    Error_Handler();
  }

}

static void MX_WWDG_Init(void)
{

  hwwdg.Instance = WWDG;
  hwwdg.Init.Prescaler = WWDG_PRESCALER_1;
  hwwdg.Init.Window = 64;
  hwwdg.Init.Counter = 64;
  hwwdg.Init.EWIMode = WWDG_EWI_DISABLE;
  if (HAL_WWDG_Init(&hwwdg) != HAL_OK)
  {
    Error_Handler();
  }

}

static void MX_GPIO_Init(void)
{
  GPIO_InitTypeDef GPIO_InitStruct = {0};

  /* GPIO Ports Clock Enable */
  __HAL_RCC_GPIOE_CLK_ENABLE();
  __HAL_RCC_GPIOC_CLK_ENABLE();
  __HAL_RCC_GPIOA_CLK_ENABLE();
  __HAL_RCC_GPIOB_CLK_ENABLE();
  __HAL_RCC_GPIOD_CLK_ENABLE();

  /*Configure GPIO pin Output Level */
  HAL_GPIO_WritePin(GPIOE, M24SR64_Y_RF_DISABLE_Pin|M24SR64_Y_GPO_Pin|ISM43362_RST_Pin, GPIO_PIN_RESET);

  /*Configure GPIO pin Output Level */
  HAL_GPIO_WritePin(GPIOA, ARD_D10_Pin|SPBTLE_RF_RST_Pin|ARD_D9_Pin, GPIO_PIN_RESET);

  /*Configure GPIO pin Output Level */
  HAL_GPIO_WritePin(GPIOB, ARD_D8_Pin|ISM43362_BOOT0_Pin|ISM43362_WAKEUP_Pin|LED2_Pin
                          |SPSGRF_915_SDN_Pin|ARD_D5_Pin, GPIO_PIN_RESET);

  /*Configure GPIO pin Output Level */
  HAL_GPIO_WritePin(GPIOD, USB_OTG_FS_PWR_EN_Pin|PMOD_RESET_Pin|STSAFE_A100_RESET_Pin, GPIO_PIN_RESET);

  /*Configure GPIO pin Output Level */
  HAL_GPIO_WritePin(SPBTLE_RF_SPI3_CSN_GPIO_Port, SPBTLE_RF_SPI3_CSN_Pin, GPIO_PIN_SET);

  /*Configure GPIO pin Output Level */
  HAL_GPIO_WritePin(GPIOC, VL53L0X_XSHUT_Pin|LED3_WIFI__LED4_BLE_Pin, GPIO_PIN_RESET);

  /*Configure GPIO pin Output Level */
  HAL_GPIO_WritePin(SPSGRF_915_SPI3_CSN_GPIO_Port, SPSGRF_915_SPI3_CSN_Pin, GPIO_PIN_SET);

  /*Configure GPIO pin Output Level */
  HAL_GPIO_WritePin(ISM43362_SPI3_CSN_GPIO_Port, ISM43362_SPI3_CSN_Pin, GPIO_PIN_SET);

  /*Configure GPIO pins : M24SR64_Y_RF_DISABLE_Pin M24SR64_Y_GPO_Pin ISM43362_RST_Pin ISM43362_SPI3_CSN_Pin */
  GPIO_InitStruct.Pin = M24SR64_Y_RF_DISABLE_Pin|M24SR64_Y_GPO_Pin|ISM43362_RST_Pin|ISM43362_SPI3_CSN_Pin;
  GPIO_InitStruct.Mode = GPIO_MODE_OUTPUT_PP;
  GPIO_InitStruct.Pull = GPIO_NOPULL;
  GPIO_InitStruct.Speed = GPIO_SPEED_FREQ_LOW;
  HAL_GPIO_Init(GPIOE, &GPIO_InitStruct);

  /*Configure GPIO pins : USB_OTG_FS_OVRCR_EXTI3_Pin SPSGRF_915_GPIO3_EXTI5_Pin SPBTLE_RF_IRQ_EXTI6_Pin ISM43362_DRDY_EXTI1_Pin */
  GPIO_InitStruct.Pin = USB_OTG_FS_OVRCR_EXTI3_Pin|SPSGRF_915_GPIO3_EXTI5_Pin|SPBTLE_RF_IRQ_EXTI6_Pin|ISM43362_DRDY_EXTI1_Pin;
  GPIO_InitStruct.Mode = GPIO_MODE_IT_RISING;
  GPIO_InitStruct.Pull = GPIO_NOPULL;
  HAL_GPIO_Init(GPIOE, &GPIO_InitStruct);

  /*Configure GPIO pin : BUTTON_EXTI13_Pin */
  GPIO_InitStruct.Pin = BUTTON_EXTI13_Pin;
  GPIO_InitStruct.Mode = GPIO_MODE_IT_FALLING;
  GPIO_InitStruct.Pull = GPIO_NOPULL;
  HAL_GPIO_Init(BUTTON_EXTI13_GPIO_Port, &GPIO_InitStruct);

  /*Configure GPIO pins : ARD_A5_Pin ARD_A4_Pin ARD_A3_Pin ARD_A2_Pin
                           ARD_A1_Pin ARD_A0_Pin */
  GPIO_InitStruct.Pin = ARD_A5_Pin|ARD_A4_Pin|ARD_A3_Pin|ARD_A2_Pin
                          |ARD_A1_Pin|ARD_A0_Pin;
  GPIO_InitStruct.Mode = GPIO_MODE_ANALOG_ADC_CONTROL;
  GPIO_InitStruct.Pull = GPIO_NOPULL;
  HAL_GPIO_Init(GPIOC, &GPIO_InitStruct);

  /*Configure GPIO pins : ARD_D1_Pin ARD_D0_Pin */
  GPIO_InitStruct.Pin = ARD_D1_Pin|ARD_D0_Pin;
  GPIO_InitStruct.Mode = GPIO_MODE_AF_PP;
  GPIO_InitStruct.Pull = GPIO_NOPULL;
  GPIO_InitStruct.Speed = GPIO_SPEED_FREQ_VERY_HIGH;
  GPIO_InitStruct.Alternate = GPIO_AF8_UART4;
  HAL_GPIO_Init(GPIOA, &GPIO_InitStruct);

  /*Configure GPIO pins : ARD_D10_Pin SPBTLE_RF_RST_Pin ARD_D9_Pin */
  GPIO_InitStruct.Pin = ARD_D10_Pin|SPBTLE_RF_RST_Pin|ARD_D9_Pin;
  GPIO_InitStruct.Mode = GPIO_MODE_OUTPUT_PP;
  GPIO_InitStruct.Pull = GPIO_NOPULL;
  GPIO_InitStruct.Speed = GPIO_SPEED_FREQ_LOW;
  HAL_GPIO_Init(GPIOA, &GPIO_InitStruct);

  /*Configure GPIO pin : ARD_D7_Pin */
  GPIO_InitStruct.Pin = ARD_D7_Pin;
  GPIO_InitStruct.Mode = GPIO_MODE_ANALOG_ADC_CONTROL;
  GPIO_InitStruct.Pull = GPIO_NOPULL;
  HAL_GPIO_Init(ARD_D7_GPIO_Port, &GPIO_InitStruct);

  /*Configure GPIO pins : ARD_D13_Pin ARD_D12_Pin ARD_D11_Pin */
  GPIO_InitStruct.Pin = ARD_D13_Pin|ARD_D12_Pin|ARD_D11_Pin;
  GPIO_InitStruct.Mode = GPIO_MODE_AF_PP;
  GPIO_InitStruct.Pull = GPIO_NOPULL;
  GPIO_InitStruct.Speed = GPIO_SPEED_FREQ_VERY_HIGH;
  GPIO_InitStruct.Alternate = GPIO_AF5_SPI1;
  HAL_GPIO_Init(GPIOA, &GPIO_InitStruct);

  /*Configure GPIO pin : ARD_D3_Pin */
  GPIO_InitStruct.Pin = ARD_D3_Pin;
  GPIO_InitStruct.Mode = GPIO_MODE_IT_RISING;
  GPIO_InitStruct.Pull = GPIO_NOPULL;
  HAL_GPIO_Init(ARD_D3_GPIO_Port, &GPIO_InitStruct);

  /*Configure GPIO pin : ARD_D6_Pin */
  GPIO_InitStruct.Pin = ARD_D6_Pin;
  GPIO_InitStruct.Mode = GPIO_MODE_ANALOG_ADC_CONTROL;
  GPIO_InitStruct.Pull = GPIO_NOPULL;
  HAL_GPIO_Init(ARD_D6_GPIO_Port, &GPIO_InitStruct);

  /*Configure GPIO pins : ARD_D8_Pin ISM43362_BOOT0_Pin ISM43362_WAKEUP_Pin LED2_Pin
                           SPSGRF_915_SDN_Pin ARD_D5_Pin SPSGRF_915_SPI3_CSN_Pin */
  GPIO_InitStruct.Pin = ARD_D8_Pin|ISM43362_BOOT0_Pin|ISM43362_WAKEUP_Pin|LED2_Pin
                          |SPSGRF_915_SDN_Pin|ARD_D5_Pin|SPSGRF_915_SPI3_CSN_Pin;
  GPIO_InitStruct.Mode = GPIO_MODE_OUTPUT_PP;
  GPIO_InitStruct.Pull = GPIO_NOPULL;
  GPIO_InitStruct.Speed = GPIO_SPEED_FREQ_LOW;
  HAL_GPIO_Init(GPIOB, &GPIO_InitStruct);

  /*Configure GPIO pins : LPS22HB_INT_DRDY_EXTI0_Pin LSM6DSL_INT1_EXTI11_Pin ARD_D2_Pin HTS221_DRDY_EXTI15_Pin
                           PMOD_IRQ_EXTI12_Pin */
  GPIO_InitStruct.Pin = LPS22HB_INT_DRDY_EXTI0_Pin|LSM6DSL_INT1_EXTI11_Pin|ARD_D2_Pin|HTS221_DRDY_EXTI15_Pin
                          |PMOD_IRQ_EXTI12_Pin;
  GPIO_InitStruct.Mode = GPIO_MODE_IT_RISING;
  GPIO_InitStruct.Pull = GPIO_NOPULL;
  HAL_GPIO_Init(GPIOD, &GPIO_InitStruct);

  /*Configure GPIO pins : USB_OTG_FS_PWR_EN_Pin SPBTLE_RF_SPI3_CSN_Pin PMOD_RESET_Pin STSAFE_A100_RESET_Pin */
  GPIO_InitStruct.Pin = USB_OTG_FS_PWR_EN_Pin|SPBTLE_RF_SPI3_CSN_Pin|PMOD_RESET_Pin|STSAFE_A100_RESET_Pin;
  GPIO_InitStruct.Mode = GPIO_MODE_OUTPUT_PP;
  GPIO_InitStruct.Pull = GPIO_NOPULL;
  GPIO_InitStruct.Speed = GPIO_SPEED_FREQ_LOW;
  HAL_GPIO_Init(GPIOD, &GPIO_InitStruct);

  /*Configure GPIO pins : VL53L0X_XSHUT_Pin LED3_WIFI__LED4_BLE_Pin */
  GPIO_InitStruct.Pin = VL53L0X_XSHUT_Pin|LED3_WIFI__LED4_BLE_Pin;
  GPIO_InitStruct.Mode = GPIO_MODE_OUTPUT_PP;
  GPIO_InitStruct.Pull = GPIO_NOPULL;
  GPIO_InitStruct.Speed = GPIO_SPEED_FREQ_LOW;
  HAL_GPIO_Init(GPIOC, &GPIO_InitStruct);

  /*Configure GPIO pins : VL53L0X_GPIO1_EXTI7_Pin LSM3MDL_DRDY_EXTI8_Pin */
  GPIO_InitStruct.Pin = VL53L0X_GPIO1_EXTI7_Pin|LSM3MDL_DRDY_EXTI8_Pin;
  GPIO_InitStruct.Mode = GPIO_MODE_IT_RISING;
  GPIO_InitStruct.Pull = GPIO_NOPULL;
  HAL_GPIO_Init(GPIOC, &GPIO_InitStruct);

  /*Configure GPIO pin : PMOD_SPI2_SCK_Pin */
  GPIO_InitStruct.Pin = PMOD_SPI2_SCK_Pin;
  GPIO_InitStruct.Mode = GPIO_MODE_AF_PP;
  GPIO_InitStruct.Pull = GPIO_NOPULL;
  GPIO_InitStruct.Speed = GPIO_SPEED_FREQ_VERY_HIGH;
  GPIO_InitStruct.Alternate = GPIO_AF5_SPI2;
  HAL_GPIO_Init(PMOD_SPI2_SCK_GPIO_Port, &GPIO_InitStruct);

  /*Configure GPIO pins : PMOD_UART2_CTS_Pin PMOD_UART2_RTS_Pin PMOD_UART2_TX_Pin PMOD_UART2_RX_Pin */
  GPIO_InitStruct.Pin = PMOD_UART2_CTS_Pin|PMOD_UART2_RTS_Pin|PMOD_UART2_TX_Pin|PMOD_UART2_RX_Pin;
  GPIO_InitStruct.Mode = GPIO_MODE_AF_PP;
  GPIO_InitStruct.Pull = GPIO_NOPULL;
  GPIO_InitStruct.Speed = GPIO_SPEED_FREQ_VERY_HIGH;
  GPIO_InitStruct.Alternate = GPIO_AF7_USART2;
  HAL_GPIO_Init(GPIOD, &GPIO_InitStruct);

  /*Configure GPIO pins : ARD_D15_Pin ARD_D14_Pin */
  GPIO_InitStruct.Pin = ARD_D15_Pin|ARD_D14_Pin;
  GPIO_InitStruct.Mode = GPIO_MODE_AF_OD;
  GPIO_InitStruct.Pull = GPIO_PULLUP;
  GPIO_InitStruct.Speed = GPIO_SPEED_FREQ_VERY_HIGH;
  GPIO_InitStruct.Alternate = GPIO_AF4_I2C1;
  HAL_GPIO_Init(GPIOB, &GPIO_InitStruct);

  /* EXTI interrupt init*/
  HAL_NVIC_SetPriority(EXTI9_5_IRQn, 0, 0);
  HAL_NVIC_EnableIRQ(EXTI9_5_IRQn);

  HAL_NVIC_SetPriority(EXTI15_10_IRQn, 0, 0);
  HAL_NVIC_EnableIRQ(EXTI15_10_IRQn);

}

void Error_Handler(void)
{
}

/************************ (C) COPYRIGHT STMicroelectronics *****END OF FILE****/
